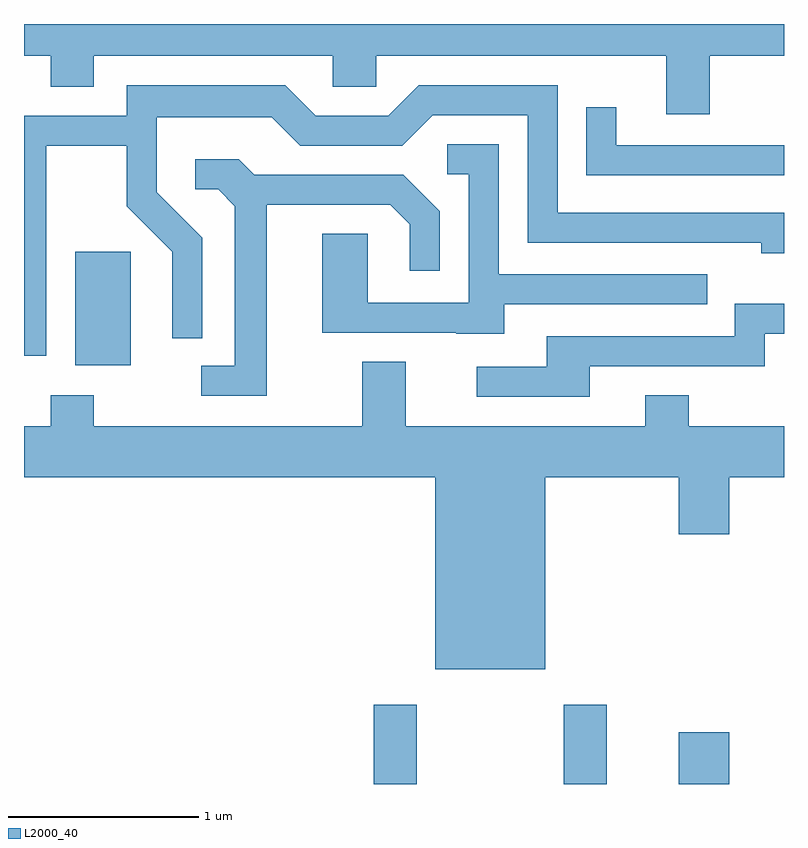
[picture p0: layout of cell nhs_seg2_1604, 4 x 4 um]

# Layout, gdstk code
import gdstk
lib = gdstk.Library(unit=1e-6, precision=1e-09)
def R(c, l, rs):  # rectangles x0, y0, x1, y1
    for r in rs: c.add(gdstk.rectangle(r[:2], r[2:], *l))
def P(c, l, *ps):  # polygons
    for p in ps: c.add(gdstk.Polygon(p, *l))
L2000_40 = (2000, 40)

nhs_seg2_1604 = lib.new_cell('nhs_seg2_1604')
R(nhs_seg2_1604, L2000_40, [(233.451,1057.802,233.679,1058.219), (234.451,1057.802,234.679,1058.219), (235.056,1057.802,235.324,1058.074), (231.881,1060.006,232.174,1060.604)])
P(nhs_seg2_1604, L2000_40, [(235.219,1061.636),(235.611,1061.636),(235.611,1061.802),(231.611,1061.802),(231.611,1061.636),(231.751,1061.636),(231.751,1061.471),(231.979,1061.471),(231.979,1061.636),(233.236,1061.636),(233.236,1061.471),(233.464,1061.471),(233.464,1061.636),(234.991,1061.636),(234.991,1061.326),(235.219,1061.326)],
  [(231.729,1061.161),(232.151,1061.161),(232.151,1060.844),(232.391,1060.604),(232.391,1060.148),(232.549,1060.148),(232.549,1060.677),(232.309,1060.917),(232.309,1061.311),(232.914,1061.311),(233.064,1061.161),(233.602,1061.161),(233.762,1061.321),(234.261,1061.321),(234.261,1060.651),(235.491,1060.651),(235.491,1060.596),(235.611,1060.596),(235.611,1060.809),(234.419,1060.809),(234.419,1061.479),(233.689,1061.479),(233.529,1061.319),(233.147,1061.319),(232.987,1061.479),(232.151,1061.479),(232.151,1061.319),(231.611,1061.319),(231.611,1060.056),(231.729,1060.056)],
  [(235.611,1061.164),(234.729,1061.164),(234.729,1061.363),(234.571,1061.363),(234.571,1061.006),(235.611,1061.006)],
  [(234.139,1060.326),(235.208,1060.326),(235.208,1060.484),(234.109,1060.484),(234.109,1061.169),(233.838,1061.169),(233.838,1061.011),(233.951,1061.011),(233.951,1060.334),(233.419,1060.334),(233.419,1060.699),(233.181,1060.699),(233.181,1060.176),(233.885,1060.176),(233.885,1060.171),(234.139,1060.171)],
  [(232.889,1060.851),(233.539,1060.851),(233.641,1060.749),(233.641,1060.503),(233.799,1060.503),(233.799,1060.817),(233.607,1061.009),(232.822,1061.009),(232.742,1061.089),(232.513,1061.089),(232.513,1060.931),(232.634,1060.931),(232.721,1060.844),(232.721,1060.004),(232.543,1060.004),(232.543,1059.846),(232.889,1059.846)],
  [(234.589,1060.001),(235.509,1060.001),(235.509,1060.171),(235.611,1060.171),(235.611,1060.329),(235.351,1060.329),(235.351,1060.159),(234.361,1060.159),(234.361,1059.999),(233.993,1059.999),(233.993,1059.841),(234.589,1059.841)],
  [(234.881,1059.684),(233.619,1059.684),(233.619,1060.024),(233.391,1060.024),(233.391,1059.684),(231.979,1059.684),(231.979,1059.849),(231.751,1059.849),(231.751,1059.684),(231.611,1059.684),(231.611,1059.416),(233.776,1059.416),(233.776,1058.406),(234.354,1058.406),(234.354,1059.416),(235.056,1059.416),(235.056,1059.116),(235.324,1059.116),(235.324,1059.416),(235.611,1059.416),(235.611,1059.684),(235.109,1059.684),(235.109,1059.849),(234.881,1059.849)])

lib.write_gds('nhs_seg2_1604.gds')
